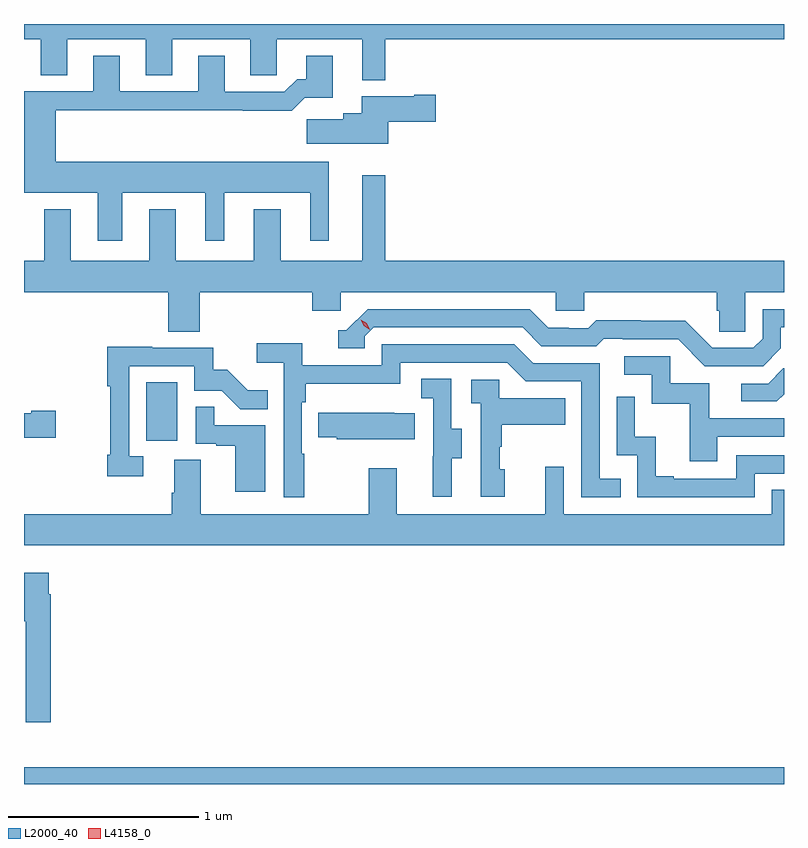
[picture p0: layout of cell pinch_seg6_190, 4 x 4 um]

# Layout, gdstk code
import gdstk
lib = gdstk.Library(unit=1e-6, precision=1e-09)
def R(c, l, rs):  # rectangles x0, y0, x1, y1
    for r in rs: c.add(gdstk.rectangle(r[:2], r[2:], *l))
def P(c, l, *ps):  # polygons
    for p in ps: c.add(gdstk.Polygon(p, *l))
L2000_40 = (2000, 40)
L4158_0 = (4158, 0)

pinch_seg6_190 = lib.new_cell('pinch_seg6_190')
R(pinch_seg6_190, L2000_40, [(1033.141,922.103,1037.141,922.192), (1033.784,923.91,1033.948,924.217)])
P(pinch_seg6_190, L2000_40, [(1035.043,926.024),(1037.141,926.024),(1037.141,926.103),(1033.141,926.103),(1033.141,926.024),(1033.229,926.024),(1033.229,925.834),(1033.369,925.834),(1033.369,926.024),(1033.781,926.024),(1033.781,925.834),(1033.921,925.834),(1033.921,926.024),(1034.333,926.024),(1034.333,925.834),(1034.472,925.834),(1034.472,926.024),(1034.921,926.024),(1034.921,925.808),(1035.043,925.808)],
  [(1033.657,925.214),(1034.096,925.214),(1034.096,924.963),(1034.194,924.963),(1034.194,925.214),(1034.648,925.214),(1034.648,924.963),(1034.746,924.963),(1034.746,925.378),(1033.309,925.378),(1033.309,925.648),(1034.293,925.648),(1034.293,925.646),(1034.549,925.646),(1034.618,925.715),(1034.767,925.715),(1034.767,925.936),(1034.627,925.936),(1034.627,925.813),(1034.578,925.813),(1034.511,925.746),(1034.197,925.746),(1034.197,925.936),(1034.057,925.936),(1034.057,925.749),(1033.645,925.749),(1033.645,925.936),(1033.505,925.936),(1033.505,925.749),(1033.141,925.749),(1033.141,925.214),(1033.529,925.214),(1033.529,924.963),(1033.657,924.963)],
  [(1035.058,925.589),(1035.307,925.589),(1035.307,925.731),(1035.194,925.731),(1035.194,925.723),(1034.918,925.723),(1034.918,925.633),(1034.822,925.633),(1034.822,925.601),(1034.628,925.601),(1034.628,925.472),(1035.058,925.472)],
  [(1034.066,924.692),(1034.657,924.692),(1034.657,924.594),(1034.808,924.594),(1034.808,924.692),(1035.939,924.692),(1035.939,924.594),(1036.089,924.594),(1036.089,924.692),(1036.787,924.692),(1036.787,924.594),(1036.801,924.594),(1036.801,924.484),(1036.938,924.484),(1036.938,924.692),(1037.141,924.692),(1037.141,924.856),(1035.043,924.856),(1035.043,925.306),(1034.921,925.306),(1034.921,924.856),(1034.491,924.856),(1034.491,925.129),(1034.351,925.129),(1034.351,924.856),(1033.939,924.856),(1033.939,925.129),(1033.799,925.129),(1033.799,924.856),(1033.387,924.856),(1033.387,925.129),(1033.247,925.129),(1033.247,924.856),(1033.141,924.856),(1033.141,924.692),(1033.901,924.692),(1033.901,924.484),(1034.066,924.484)],
  [(1037.125,924.397),(1037.125,924.507),(1037.141,924.507),(1037.141,924.603),(1037.028,924.603),(1037.028,924.447),(1036.98,924.399),(1036.764,924.399),(1036.622,924.541),(1036.386,924.541),(1036.386,924.544),(1036.153,924.544),(1036.111,924.501),(1036.008,924.501),(1036.008,924.504),(1035.901,924.504),(1035.802,924.603),(1034.949,924.603),(1034.838,924.492),(1034.795,924.492),(1034.795,924.396),(1034.934,924.396),(1034.934,924.459),(1034.982,924.507),(1035.765,924.507),(1035.864,924.408),(1036.153,924.408),(1036.192,924.447),(1036.291,924.447),(1036.291,924.444),(1036.584,924.444),(1036.725,924.303),(1037.031,924.303)],
  [(1034.617,923.84),(1034.604,923.84),(1034.604,924.113),(1034.624,924.113),(1034.624,924.209),(1035.12,924.209),(1035.12,924.321),(1035.684,924.321),(1035.783,924.222),(1036.074,924.222),(1036.074,923.613),(1036.283,923.613),(1036.283,923.709),(1036.17,923.709),(1036.17,924.318),(1035.82,924.318),(1035.721,924.417),(1035.024,924.417),(1035.024,924.306),(1034.606,924.306),(1034.606,924.422),(1034.367,924.422),(1034.367,924.32),(1034.508,924.32),(1034.508,923.613),(1034.617,923.613)],
  [(1033.768,923.829),(1033.695,923.829),(1033.695,924.303),(1034.037,924.303),(1034.037,924.174),(1034.181,924.174),(1034.279,924.076),(1034.423,924.076),(1034.423,924.175),(1034.319,924.175),(1034.212,924.282),(1034.136,924.282),(1034.136,924.399),(1033.817,924.399),(1033.817,924.404),(1033.579,924.404),(1033.579,924.196),(1033.594,924.196),(1033.594,923.836),(1033.579,923.836),(1033.579,923.724),(1033.768,923.724)],
  [(1036.789,923.931),(1037.141,923.931),(1037.141,924.027),(1036.747,924.027),(1036.747,924.213),(1036.542,924.213),(1036.542,924.354),(1036.299,924.354),(1036.299,924.258),(1036.446,924.258),(1036.446,924.105),(1036.645,924.105),(1036.645,923.802),(1036.789,923.802)],
  [(1037.141,924.154),(1037.141,924.29),(1037.138,924.29),(1037.058,924.21),(1036.917,924.21),(1036.917,924.117),(1037.104,924.117)],
  [(1035.391,923.818),(1035.445,923.818),(1035.445,923.973),(1035.39,923.973),(1035.39,924.236),(1035.231,924.236),(1035.231,924.133),(1035.294,924.133),(1035.294,923.829),(1035.293,923.829),(1035.293,923.616),(1035.391,923.616)],
  [(1035.67,923.76),(1035.645,923.76),(1035.645,923.879),(1035.655,923.879),(1035.655,923.993),(1035.989,923.993),(1035.989,924.133),(1035.642,924.133),(1035.642,924.231),(1035.495,924.231),(1035.495,924.107),(1035.546,924.107),(1035.546,923.616),(1035.67,923.616)],
  [(1036.986,923.736),(1037.141,923.736),(1037.141,923.832),(1036.89,923.832),(1036.89,923.709),(1036.561,923.709),(1036.561,923.722),(1036.466,923.722),(1036.466,923.93),(1036.356,923.93),(1036.356,924.142),(1036.26,924.142),(1036.26,923.832),(1036.368,923.832),(1036.368,923.613),(1036.986,923.613)],
  [(1034.41,923.991),(1034.141,923.991),(1034.141,924.089),(1034.046,924.089),(1034.046,923.895),(1034.153,923.895),(1034.153,923.883),(1034.252,923.883),(1034.252,923.64),(1034.41,923.64)],
  [(1033.309,924.068),(1033.179,924.068),(1033.179,924.055),(1033.141,924.055),(1033.141,923.926),(1033.309,923.926)],
  [(1035.197,924.055),(1035.089,924.055),(1035.089,924.058),(1034.689,924.058),(1034.689,923.929),(1034.787,923.929),(1034.787,923.918),(1035.197,923.918)],
  [(1037.141,923.651),(1037.076,923.651),(1037.076,923.524),(1035.981,923.524),(1035.981,923.773),(1035.884,923.773),(1035.884,923.524),(1035.103,923.524),(1035.103,923.764),(1034.956,923.764),(1034.956,923.524),(1034.071,923.524),(1034.071,923.81),(1033.931,923.81),(1033.931,923.636),(1033.919,923.636),(1033.919,923.524),(1033.141,923.524),(1033.141,923.36),(1037.141,923.36)],
  [(1033.283,923.102),(1033.27,923.102),(1033.27,923.215),(1033.141,923.215),(1033.141,922.959),(1033.151,922.959),(1033.151,922.428),(1033.283,922.428)])
P(pinch_seg6_190, L4158_0, [(1034.96,924.495),(1034.929,924.514),(1034.913,924.547),(1034.913,924.547),(1034.914,924.547),(1034.944,924.528),(1034.96,924.495),(1034.96,924.495)])

lib.write_gds('pinch_seg6_190.gds')
